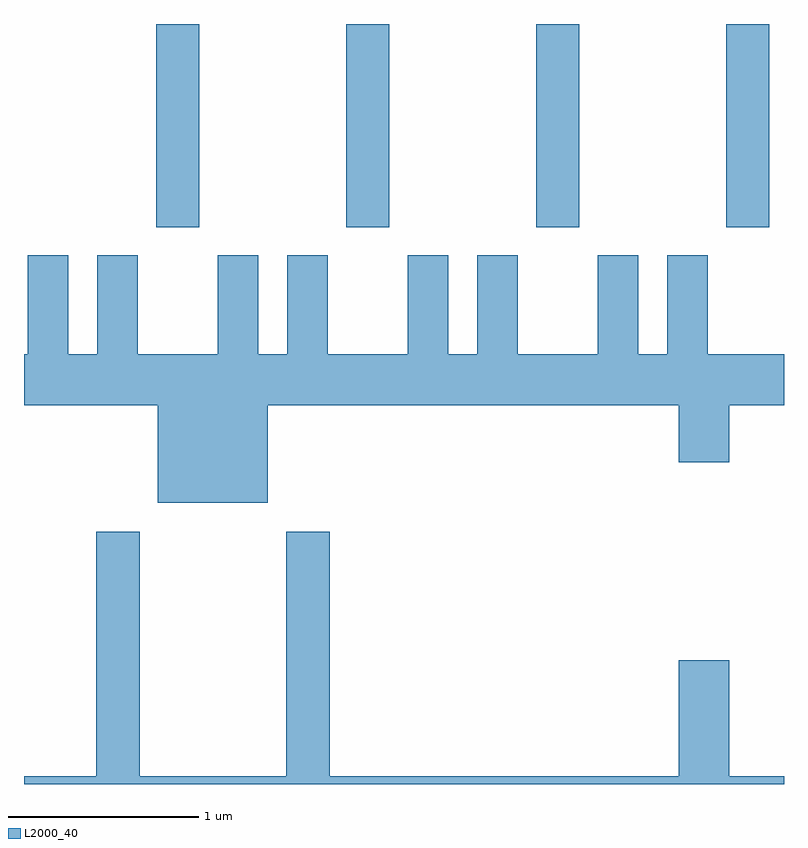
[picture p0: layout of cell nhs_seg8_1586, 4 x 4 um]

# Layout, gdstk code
import gdstk
lib = gdstk.Library(unit=1e-6, precision=1e-09)
def R(c, l, rs):  # rectangles x0, y0, x1, y1
    for r in rs: c.add(gdstk.rectangle(r[:2], r[2:], *l))
def A(c, l, x, y, w, h, nx, ny, dx, dy):  # array of equal rectangles
    R(c, l, [(x+i*dx, y+j*dy, x+i*dx+w, y+j*dy+h) for i in range(nx) for j in range(ny)])
def P(c, l, *ps):  # polygons
    for p in ps: c.add(gdstk.Polygon(p, *l))
L2000_40 = (2000, 40)

nhs_seg8_1586 = lib.new_cell('nhs_seg8_1586')
A(nhs_seg8_1586, L2000_40, 232.306, 1917.271, 0.228, 1.071, 4, 1, 1, 0)
P(nhs_seg8_1586, L2000_40, [(232.894,1916.336),(235.056,1916.336),(235.056,1916.036),(235.324,1916.036),(235.324,1916.336),(235.611,1916.336),(235.611,1916.604),(235.209,1916.604),(235.209,1917.124),(234.996,1917.124),(234.996,1916.604),(234.844,1916.604),(234.844,1917.124),(234.631,1917.124),(234.631,1916.604),(234.209,1916.604),(234.209,1917.124),(233.996,1917.124),(233.996,1916.604),(233.844,1916.604),(233.844,1917.124),(233.631,1917.124),(233.631,1916.604),(233.209,1916.604),(233.209,1917.124),(232.996,1917.124),(232.996,1916.604),(232.844,1916.604),(232.844,1917.124),(232.631,1917.124),(232.631,1916.604),(232.209,1916.604),(232.209,1917.124),(231.996,1917.124),(231.996,1916.604),(231.844,1916.604),(231.844,1917.124),(231.631,1917.124),(231.631,1916.604),(231.611,1916.604),(231.611,1916.336),(232.316,1916.336),(232.316,1915.821),(232.894,1915.821)],
  [(233.219,1915.669),(232.991,1915.669),(232.991,1914.384),(232.219,1914.384),(232.219,1915.669),(231.991,1915.669),(231.991,1914.384),(231.611,1914.384),(231.611,1914.342),(235.611,1914.342),(235.611,1914.384),(235.324,1914.384),(235.324,1914.994),(235.056,1914.994),(235.056,1914.384),(233.219,1914.384)])

lib.write_gds('nhs_seg8_1586.gds')
